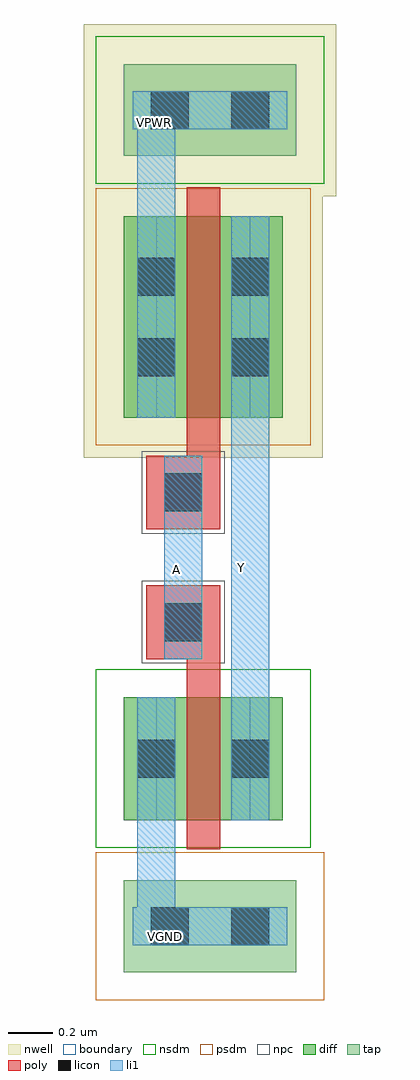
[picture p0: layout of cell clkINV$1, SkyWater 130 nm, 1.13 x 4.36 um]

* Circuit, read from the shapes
.subckt clkINV$1 A VGND VPWR Y
XM1 Y A VGND VGND sky130_fd_pr__nfet_01v8 w=0.55 l=0.15
XM2 Y A VPWR VPWR sky130_fd_pr__pfet_01v8 w=0.9 l=0.15
.ends

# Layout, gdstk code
from math import pi, radians
import gdstk
lib = gdstk.Library(unit=1e-6, precision=1e-09)
def R(c, l, rs):  # rectangles x0, y0, x1, y1
    for r in rs: c.add(gdstk.rectangle(r[:2], r[2:], *l))
nwell = (64, 20)
diff = (65, 20)
tap = (65, 44)
poly = (66, 20)
licon = (66, 44)
li1 = (67, 20)
nsdm = (93, 44)
psdm = (94, 20)
npc = (95, 20)
boundary = (235, 4)

mosfet = lib.new_cell('MOSFET')
R(mosfet, diff, [(-0.145,0,0.565,0.55)])
R(mosfet, poly, [(0.135,-0.13,0.285,0.68)])
R(mosfet, licon, [(-0.085,0.19,0.085,0.36), (0.335,0.19,0.505,0.36)])
R(mosfet, li1, [(-0.085,0,0.085,0.55), (0.335,0,0.505,0.55)])
R(mosfet, nsdm, [(-0.27,-0.125,0.69,0.675)])
R(mosfet, boundary, [(0,0,0.42,0.55)])

mosfet_1 = lib.new_cell('MOSFET$1')
R(mosfet_1, nwell, [(-0.325,-0.18,0.745,1.08)])
R(mosfet_1, diff, [(-0.145,0,0.565,0.9)])
R(mosfet_1, poly, [(0.135,-0.13,0.285,1.03)])
R(mosfet_1, licon, [(-0.085,0.185,0.085,0.355), (0.335,0.185,0.505,0.355), (-0.085,0.545,0.085,0.715), (0.335,0.545,0.505,0.715)])
R(mosfet_1, li1, [(-0.085,0,0.085,0.9), (0.335,0,0.505,0.9)])
R(mosfet_1, psdm, [(-0.27,-0.125,0.69,1.025)])
R(mosfet_1, boundary, [(0,0,0.42,0.9)])

contact_21 = lib.new_cell('Contact$21')
R(contact_21, nwell, [(-0.385,-0.565,0.385,0.565)])
R(contact_21, tap, [(-0.205,-0.385,0.205,0.385)])
R(contact_21, licon, [(-0.085,-0.265,0.085,-0.095), (-0.085,0.095,0.085,0.265)])
R(contact_21, li1, [(-0.085,-0.345,0.085,0.345)])
R(contact_21, nsdm, [(-0.33,-0.51,0.33,0.51)])

contact_20 = lib.new_cell('Contact$20')
R(contact_20, tap, [(-0.205,-0.385,0.205,0.385)])
R(contact_20, licon, [(-0.085,-0.265,0.085,-0.095), (-0.085,0.095,0.085,0.265)])
R(contact_20, li1, [(-0.085,-0.345,0.085,0.345)])
R(contact_20, psdm, [(-0.33,-0.51,0.33,0.51)])

contact_5 = lib.new_cell('Contact$5')
R(contact_5, poly, [(-0.165,-0.165,0.165,0.165)])
R(contact_5, licon, [(-0.085,-0.085,0.085,0.085)])
R(contact_5, li1, [(-0.085,-0.165,0.085,0.165)])
R(contact_5, npc, [(-0.185,-0.185,0.185,0.185)])

clkinv_1 = lib.new_cell('clkINV$1')
R(clkinv_1, poly, [(1.515,3.74,1.665,4.24), (1.515,4.49,1.665,4.94)])
clkinv_1.add(gdstk.FlexPath([(1.5,4.49),(1.5,4.24)], 0.17, ends="flush", simple_path=True, layer=67, datatype=20))  # li1
clkinv_1.add(gdstk.FlexPath([(1.8,4.99),(1.8,3.74)], 0.17, ends="flush", simple_path=True, layer=67, datatype=20))  # li1
clkinv_1.add(gdstk.FlexPath([(1.38,3.19),(1.38,2.8)], 0.17, ends="flush", simple_path=True, layer=67, datatype=20))  # li1
clkinv_1.add(gdstk.FlexPath([(1.38,5.89),(1.38,6.28)], 0.17, ends="flush", simple_path=True, layer=67, datatype=20))  # li1
clkinv_1.add(gdstk.Reference(mosfet, (1.38,3.19)))
clkinv_1.add(gdstk.Reference(mosfet_1, (1.38,4.99)))
clkinv_1.add(gdstk.Reference(contact_21, (1.62,6.365), rotation=pi/2))
clkinv_1.add(gdstk.Reference(contact_20, (1.62,2.715), rotation=pi/2))
clkinv_1.add(gdstk.Reference(contact_5, (1.5,4.075)))
clkinv_1.add(gdstk.Reference(contact_5, (1.5,4.655)))
clkinv_1.add(gdstk.Label('Y', (1.76,4.32), layer=67, texttype=5))
clkinv_1.add(gdstk.Label('A', (1.47,4.31), layer=67, texttype=5))
clkinv_1.add(gdstk.Label('VGND', (1.42,2.67), layer=67, texttype=5))
clkinv_1.add(gdstk.Label('VPWR', (1.37,6.31), layer=67, texttype=5))

lib.write_gds('clkINV_1.gds')
